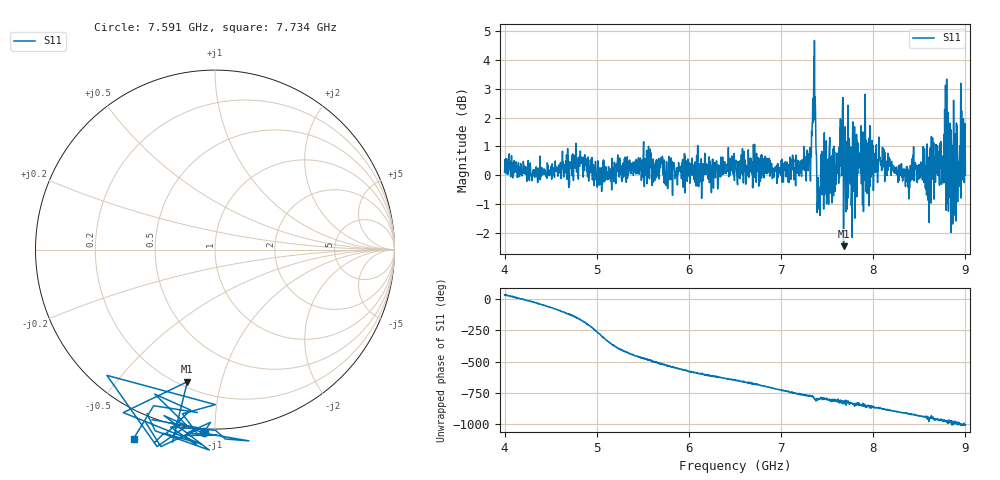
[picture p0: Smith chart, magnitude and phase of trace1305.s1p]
! Created with skrf 1.8.0 (http://scikit-rf.org).
# Hz S RI R 50.0
!freq ReS11 ImS11
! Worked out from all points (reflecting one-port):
!   1601 points, 4 GHz to 9 GHz, reference 50 ohm
!   lowest |S11| = -2.5 dB at 7.678 GHz (marker M1), VSWR 7.07, Z = 11.6 - j39.3 ohm
!   phase of S11 starts at 36 deg and turns -1045 deg over the sweep
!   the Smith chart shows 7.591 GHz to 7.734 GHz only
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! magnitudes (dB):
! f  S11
! 4 GHz  0.1
! 4.625 GHz  0.5
! 5.028 GHz  -0.1
! 5.25 GHz  0.6
! 5.875 GHz  -0.3
! 6.5 GHz  0.3
! 7.125 GHz  0.7
! 7.297 GHz  0.6
! 7.356 GHz  4.1
! 7.412 GHz  -1.2
! 7.503 GHz  0.3
! 7.609 GHz  0.2
! 7.65 GHz  1.9
! 7.678 GHz  -2.5
! 7.703 GHz  -1.3
! 7.75 GHz  0.0
! 7.928 GHz  0.8
! 7.981 GHz  0.2
! 8.088 GHz  0.5
! 8.375 GHz  -0.3
! 8.441 GHz  -0.2
! 8.603 GHz  -0.5
! 8.656 GHz  1.1
! 8.738 GHz  0.8
! 8.788 GHz  0.1
! 8.869 GHz  -0.7
! 8.972 GHz  0.7
! 9 GHz  0.0
